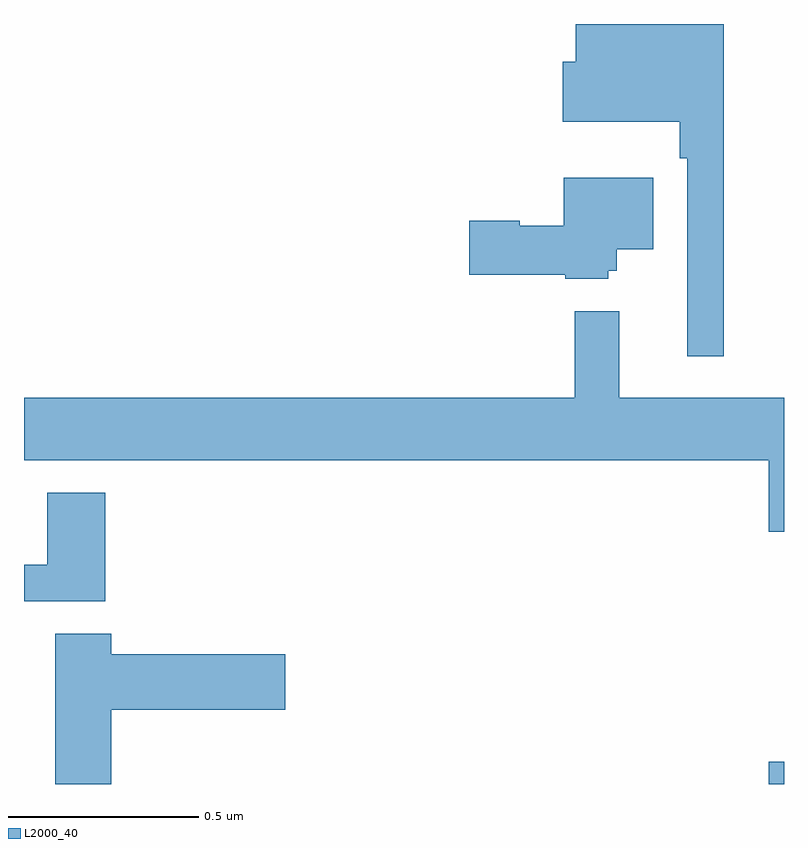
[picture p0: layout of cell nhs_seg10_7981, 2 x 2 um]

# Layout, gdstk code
import gdstk
lib = gdstk.Library(unit=1e-6, precision=1e-09)
def R(c, l, rs):  # rectangles x0, y0, x1, y1
    for r in rs: c.add(gdstk.rectangle(r[:2], r[2:], *l))
def P(c, l, *ps):  # polygons
    for p in ps: c.add(gdstk.Polygon(p, *l))
L2000_40 = (2000, 40)

nhs_seg10_7981 = lib.new_cell('nhs_seg10_7981')
R(nhs_seg10_7981, L2000_40, [(212.96,1263.5,213,1263.559)])
P(nhs_seg10_7981, L2000_40, [(212.842,1265.5),(212.452,1265.5),(212.452,1265.401),(212.418,1265.401),(212.418,1265.243),(212.725,1265.243),(212.725,1265.147),(212.745,1265.147),(212.745,1264.626),(212.842,1264.626)],
  [(212.538,1264.851),(212.56,1264.851),(212.56,1264.907),(212.656,1264.907),(212.656,1265.095),(212.42,1265.095),(212.42,1264.969),(212.304,1264.969),(212.304,1264.982),(212.172,1264.982),(212.172,1264.84),(212.424,1264.84),(212.424,1264.829),(212.538,1264.829)],
  [(213,1264.516),(212.567,1264.516),(212.567,1264.744),(212.449,1264.744),(212.449,1264.516),(211,1264.516),(211,1264.352),(212.96,1264.352),(212.96,1264.164),(213,1264.164)],
  [(211.214,1264.267),(211.061,1264.267),(211.061,1264.077),(211,1264.077),(211,1263.981),(211.214,1263.981)],
  [(211.229,1263.695),(211.687,1263.695),(211.687,1263.842),(211.229,1263.842),(211.229,1263.896),(211.082,1263.896),(211.082,1263.5),(211.229,1263.5)])

lib.write_gds('nhs_seg10_7981.gds')
